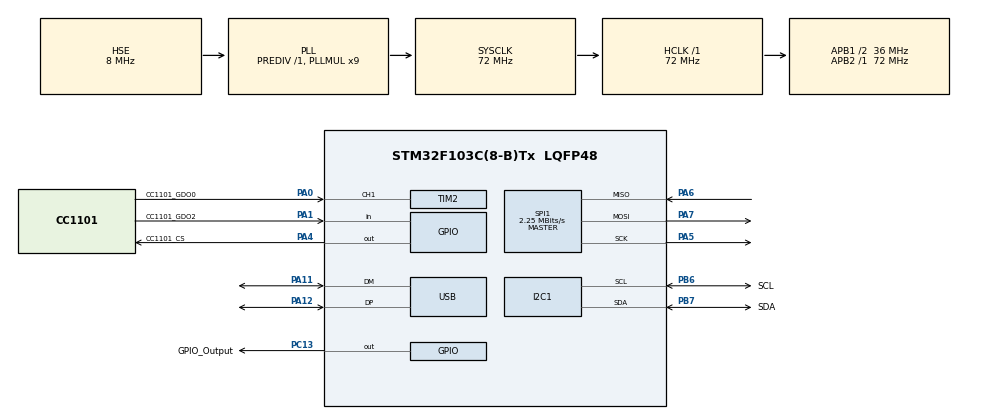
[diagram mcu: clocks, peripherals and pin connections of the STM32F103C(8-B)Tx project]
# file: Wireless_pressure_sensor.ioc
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Mcu.Family=STM32F1
Mcu.Name=STM32F103C(8-B)Tx
Mcu.Package=LQFP48
NVIC.PriorityGroup=NVIC_PRIORITYGROUP_4
NVIC.TIM2_IRQn=true\:0\:0\:false\:false\:true\:true\:true\:true
NVIC.TIM3_IRQn=true\:2\:0\:false\:false\:true\:true\:true\:true
NVIC.USB_LP_CAN1_RX0_IRQn=true\:1\:0\:false\:false\:true\:false\:true\:true
PA0-WKUP.GPIO_Label=CC1101_GDO0
PA0-WKUP.Signal=S_TIM2_CH1_ETR
PA1.GPIO_Label=CC1101_GDO2
PA1.Signal=GPIO_Input
PA11.Mode=Device
PA11.Signal=USB_DM
PA12.Mode=Device
PA12.Signal=USB_DP
PA13.Mode=Serial_Wire
PA13.Signal=SYS_JTMS-SWDIO
PA14.Mode=Serial_Wire
PA14.Signal=SYS_JTCK-SWCLK
PA4.GPIO_Label=CC1101_CS
PA4.PinState=GPIO_PIN_SET
PA4.Signal=GPIO_Output
PA5.Mode=Full_Duplex_Master
PA5.Signal=SPI1_SCK
PA6.Mode=Full_Duplex_Master
PA6.Signal=SPI1_MISO
PA7.Mode=Full_Duplex_Master
PA7.Signal=SPI1_MOSI
PB6.GPIO_Label=SCL
PB6.Mode=I2C
PB6.Signal=I2C1_SCL
PB7.GPIO_Label=SDA
PB7.Mode=I2C
PB7.Signal=I2C1_SDA
PC13-TAMPER-RTC.GPIO_Label=GPIO_Output
PC13-TAMPER-RTC.Signal=GPIO_Output
PD0-OSC_IN.Mode=HSE-External-Oscillator
PD0-OSC_IN.Signal=RCC_OSC_IN
PD1-OSC_OUT.Mode=HSE-External-Oscillator
PD1-OSC_OUT.Signal=RCC_OSC_OUT
ProjectManager.HeapSize=0x200
ProjectManager.StackSize=0x800
ProjectManager.TargetToolchain=CMake
RCC.AHBFreq_Value=72000000
RCC.APB1CLKDivider=RCC_HCLK_DIV2
RCC.APB1Freq_Value=36000000
RCC.APB1TimFreq_Value=72000000
RCC.APB2Freq_Value=72000000
RCC.APB2TimFreq_Value=72000000
RCC.HCLKFreq_Value=72000000
RCC.PLLMUL=RCC_PLL_MUL9
RCC.PLLSourceVirtual=RCC_PLLSOURCE_HSE
RCC.SYSCLKFreq_VALUE=72000000
RCC.SYSCLKSource=RCC_SYSCLKSOURCE_PLLCLK
RCC.USBFreq_Value=48000000
RCC.USBPrescaler=RCC_USBCLKSOURCE_PLL_DIV1_5
SH.S_TIM2_CH1_ETR.0=TIM2_CH1,Input_Capture1_from_TI1
SPI1.BaudRatePrescaler=SPI_BAUDRATEPRESCALER_32
SPI1.CalculateBaudRate=2.25 MBits/s
SPI1.Direction=SPI_DIRECTION_2LINES
SPI1.Mode=SPI_MODE_MASTER
SPI1.VirtualType=VM_MASTER
TIM2.Channel-Input_Capture1_from_TI1=TIM_CHANNEL_1
TIM2.Period=65535
TIM2.Prescaler=71
TIM3.Period=249
TIM3.Prescaler=71
USB_DEVICE.CLASS_NAME_FS=CDC
USB_DEVICE.VirtualMode-CDC_FS=Cdc
USB_DEVICE.VirtualModeFS=Cdc_FS
VP_TIM2_VS_ClockSourceINT.Mode=Internal
VP_TIM3_VS_ClockSourceINT.Mode=Internal
VP_USB_DEVICE_VS_USB_DEVICE_CDC_FS.Mode=CDC_FS
board=custom

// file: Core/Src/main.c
/* USER CODE BEGIN Header */
/**
  ******************************************************************************
  * @file           : main.c
  * @brief          : Main program body
  ******************************************************************************
  * @attention
  *
  * Copyright (c) 2026 STMicroelectronics.
  * All rights reserved.
  *
  * This software is licensed under terms that can be found in the LICENSE file
  * in the root directory of this software component.
  * If no LICENSE file comes with this software, it is provided AS-IS.
  *
  ******************************************************************************
  */
/* USER CODE END Header */
#include "main.h"
#include "usb_device.h"

/* USER CODE BEGIN Includes */
#include "cc1101.h"
#include "lcd_i2c.h"
#include "app.h"
#include <stdio.h>
/* USER CODE END Includes */

I2C_HandleTypeDef hi2c1;

SPI_HandleTypeDef hspi1;

TIM_HandleTypeDef htim2;
TIM_HandleTypeDef htim3;

void SystemClock_Config(void);
static void MX_GPIO_Init(void);
static void MX_I2C1_Init(void);
static void MX_SPI1_Init(void);
static void MX_TIM2_Init(void);
static void MX_TIM3_Init(void);

int main(void)
{

  /* MCU Configuration--------------------------------------------------------*/

  /* Reset of all peripherals, Initializes the Flash interface and the Systick. */
  HAL_Init();

  /* Configure the system clock */
  SystemClock_Config();

  /* USER CODE BEGIN SysInit */
  /*
   * Blue Pill USB re-enumeration trick: hold D+ (PA12) low for 10 ms so the PC
   * sees a "disconnect" after every reset/flash and enumerates the COM port again.
   */
  {
    GPIO_InitTypeDef g = {0};
    __HAL_RCC_GPIOA_CLK_ENABLE();
    g.Pin = GPIO_PIN_12;
    g.Mode = GPIO_MODE_OUTPUT_PP;
    g.Speed = GPIO_SPEED_FREQ_LOW;
    HAL_GPIO_Init(GPIOA, &g);
    HAL_GPIO_WritePin(GPIOA, GPIO_PIN_12, GPIO_PIN_RESET);
    HAL_Delay(10);
    HAL_GPIO_DeInit(GPIOA, GPIO_PIN_12);   /* release: the USB peripheral takes the pin */
  }
  /* USER CODE END SysInit */

  /* Initialize all configured peripherals */
  MX_GPIO_Init();
  MX_I2C1_Init();
  MX_SPI1_Init();
  MX_TIM2_Init();
  MX_TIM3_Init();
  MX_USB_DEVICE_Init();
  /* USER CODE BEGIN 2 */
  char line[21];   /* 20 chars + terminator */

  if (lcd_init(&hi2c1) != HAL_OK) {
      /* No LCD found at 0x27 or 0x3F: fast-blink the onboard LED (PC13) forever */
      while (1) {
          HAL_GPIO_TogglePin(GPIOC, GPIO_PIN_13);
          HAL_Delay(100);
      }
  }

  /* ---- Step 1 check (kept as a power-on self test) ---- */
  lcd_print_at(0, 0, "   TireSense TPMS");

  if (cc1101_init(&hspi1) != CC1101_OK) {
      lcd_print_at(0, 1, "Radio: NOT FOUND");
      lcd_print_at(0, 2, "Check 3V3,CS,MISO");
  } else {
      uint8_t part = 0xFF, ver = 0xFF;
      cc1101_read_status_reg(CC1101_PARTNUM, &part);
      cc1101_read_status_reg(CC1101_VERSION, &ver);

      snprintf(line, sizeof line, "Radio CC1101 v%02X", ver);
      lcd_print_at(0, 1, line);
      snprintf(line, sizeof line, "Self-test: %s", (part == 0x00 && (ver == 0x14 || ver == 0x04)) ? "OK" : "FAIL");
      lcd_print_at(0, 2, line);
      lcd_print_at(0, 3, "433.92 MHz receiver");
  }
  HAL_Delay(1500);   /* leave the self-test on screen briefly */

  /* ---- Step 2: radio in raw receive mode + burst capture ---- */
  app_init(&htim2, &htim3);
  /* USER CODE END 2 */

  /* Infinite loop */
  while (1)
  {

    /* USER CODE BEGIN 3 */
    app_loop();     /* never blocks: radio data is captured by interrupts */
  }
  /* USER CODE END 3 */
}

void SystemClock_Config(void)
{
  RCC_OscInitTypeDef RCC_OscInitStruct = {0};
  RCC_ClkInitTypeDef RCC_ClkInitStruct = {0};
  RCC_PeriphCLKInitTypeDef PeriphClkInit = {0};

  /** Initializes the RCC Oscillators according to the specified parameters
  * in the RCC_OscInitTypeDef structure.
  */
  RCC_OscInitStruct.OscillatorType = RCC_OSCILLATORTYPE_HSE;
  RCC_OscInitStruct.HSEState = RCC_HSE_ON;
  RCC_OscInitStruct.HSEPredivValue = RCC_HSE_PREDIV_DIV1;
  RCC_OscInitStruct.HSIState = RCC_HSI_ON;
  RCC_OscInitStruct.PLL.PLLState = RCC_PLL_ON;
  RCC_OscInitStruct.PLL.PLLSource = RCC_PLLSOURCE_HSE;
  RCC_OscInitStruct.PLL.PLLMUL = RCC_PLL_MUL9;
  if (HAL_RCC_OscConfig(&RCC_OscInitStruct) != HAL_OK)
  {
    Error_Handler();
  }

  /** Initializes the CPU, AHB and APB buses clocks
  */
  RCC_ClkInitStruct.ClockType = RCC_CLOCKTYPE_HCLK|RCC_CLOCKTYPE_SYSCLK
                              |RCC_CLOCKTYPE_PCLK1|RCC_CLOCKTYPE_PCLK2;
  RCC_ClkInitStruct.SYSCLKSource = RCC_SYSCLKSOURCE_PLLCLK;
  RCC_ClkInitStruct.AHBCLKDivider = RCC_SYSCLK_DIV1;
  RCC_ClkInitStruct.APB1CLKDivider = RCC_HCLK_DIV2;
  RCC_ClkInitStruct.APB2CLKDivider = RCC_HCLK_DIV1;

  if (HAL_RCC_ClockConfig(&RCC_ClkInitStruct, FLASH_LATENCY_2) != HAL_OK)
  {
    Error_Handler();
  }
  PeriphClkInit.PeriphClockSelection = RCC_PERIPHCLK_USB;
  PeriphClkInit.UsbClockSelection = RCC_USBCLKSOURCE_PLL_DIV1_5;   /* 72 MHz / 1.5 = 48 MHz for USB */
  if (HAL_RCCEx_PeriphCLKConfig(&PeriphClkInit) != HAL_OK)
  {
    Error_Handler();
  }
}

static void MX_I2C1_Init(void)
{

  hi2c1.Instance = I2C1;
  hi2c1.Init.ClockSpeed = 100000;
  hi2c1.Init.DutyCycle = I2C_DUTYCYCLE_2;
  hi2c1.Init.OwnAddress1 = 0;
  hi2c1.Init.AddressingMode = I2C_ADDRESSINGMODE_7BIT;
  hi2c1.Init.DualAddressMode = I2C_DUALADDRESS_DISABLE;
  hi2c1.Init.OwnAddress2 = 0;
  hi2c1.Init.GeneralCallMode = I2C_GENERALCALL_DISABLE;
  hi2c1.Init.NoStretchMode = I2C_NOSTRETCH_DISABLE;
  if (HAL_I2C_Init(&hi2c1) != HAL_OK)
  {
    Error_Handler();
  }

}

static void MX_SPI1_Init(void)
{

  /* SPI1 parameter configuration*/
  hspi1.Instance = SPI1;
  hspi1.Init.Mode = SPI_MODE_MASTER;
  hspi1.Init.Direction = SPI_DIRECTION_2LINES;
  hspi1.Init.DataSize = SPI_DATASIZE_8BIT;
  hspi1.Init.CLKPolarity = SPI_POLARITY_LOW;
  hspi1.Init.CLKPhase = SPI_PHASE_1EDGE;
  hspi1.Init.NSS = SPI_NSS_SOFT;
  hspi1.Init.BaudRatePrescaler = SPI_BAUDRATEPRESCALER_32;
  hspi1.Init.FirstBit = SPI_FIRSTBIT_MSB;
  hspi1.Init.TIMode = SPI_TIMODE_DISABLE;
  hspi1.Init.CRCCalculation = SPI_CRCCALCULATION_DISABLE;
  hspi1.Init.CRCPolynomial = 10;
  if (HAL_SPI_Init(&hspi1) != HAL_OK)
  {
    Error_Handler();
  }

}

static void MX_TIM2_Init(void)
{

  /* USER CODE BEGIN TIM2_Init 0 */
  /* TIM2: 1 MHz free-running counter. CH1 (PA0 = CC1101 GDO0) input capture
   * timestamps every edge of the demodulated radio data with 1 us resolution. */
  /* USER CODE END TIM2_Init 0 */

  TIM_ClockConfigTypeDef sClockSourceConfig = {0};
  TIM_MasterConfigTypeDef sMasterConfig = {0};
  TIM_IC_InitTypeDef sConfigIC = {0};

  htim2.Instance = TIM2;
  htim2.Init.Prescaler = 71;
  htim2.Init.CounterMode = TIM_COUNTERMODE_UP;
  htim2.Init.Period = 65535;
  htim2.Init.ClockDivision = TIM_CLOCKDIVISION_DIV1;
  htim2.Init.AutoReloadPreload = TIM_AUTORELOAD_PRELOAD_DISABLE;
  if (HAL_TIM_Base_Init(&htim2) != HAL_OK)
  {
    Error_Handler();
  }
  sClockSourceConfig.ClockSource = TIM_CLOCKSOURCE_INTERNAL;
  if (HAL_TIM_ConfigClockSource(&htim2, &sClockSourceConfig) != HAL_OK)
  {
    Error_Handler();
  }
  if (HAL_TIM_IC_Init(&htim2) != HAL_OK)
  {
    Error_Handler();
  }
  sMasterConfig.MasterOutputTrigger = TIM_TRGO_RESET;
  sMasterConfig.MasterSlaveMode = TIM_MASTERSLAVEMODE_DISABLE;
  if (HAL_TIMEx_MasterConfigSynchronization(&htim2, &sMasterConfig) != HAL_OK)
  {
    Error_Handler();
  }
  sConfigIC.ICPolarity = TIM_INPUTCHANNELPOLARITY_RISING;
  sConfigIC.ICSelection = TIM_ICSELECTION_DIRECTTI;
  sConfigIC.ICPrescaler = TIM_ICPSC_DIV1;
  sConfigIC.ICFilter = 0;
  if (HAL_TIM_IC_ConfigChannel(&htim2, &sConfigIC, TIM_CHANNEL_1) != HAL_OK)
  {
    Error_Handler();
  }

}

static void MX_TIM3_Init(void)
{

  /* USER CODE BEGIN TIM3_Init 0 */
  /* TIM3: interrupt every 250 us (1 MHz / 250) to sample the CC1101 RSSI */
  /* USER CODE END TIM3_Init 0 */

  TIM_ClockConfigTypeDef sClockSourceConfig = {0};
  TIM_MasterConfigTypeDef sMasterConfig = {0};

  htim3.Instance = TIM3;
  htim3.Init.Prescaler = 71;
  htim3.Init.CounterMode = TIM_COUNTERMODE_UP;
  htim3.Init.Period = 249;
  htim3.Init.ClockDivision = TIM_CLOCKDIVISION_DIV1;
  htim3.Init.AutoReloadPreload = TIM_AUTORELOAD_PRELOAD_DISABLE;
  if (HAL_TIM_Base_Init(&htim3) != HAL_OK)
  {
    Error_Handler();
  }
  sClockSourceConfig.ClockSource = TIM_CLOCKSOURCE_INTERNAL;
  if (HAL_TIM_ConfigClockSource(&htim3, &sClockSourceConfig) != HAL_OK)
  {
    Error_Handler();
  }
  sMasterConfig.MasterOutputTrigger = TIM_TRGO_RESET;
  sMasterConfig.MasterSlaveMode = TIM_MASTERSLAVEMODE_DISABLE;
  if (HAL_TIMEx_MasterConfigSynchronization(&htim3, &sMasterConfig) != HAL_OK)
  {
    Error_Handler();
  }

}

static void MX_GPIO_Init(void)
{
  GPIO_InitTypeDef GPIO_InitStruct = {0};

  /* GPIO Ports Clock Enable */
  __HAL_RCC_GPIOC_CLK_ENABLE();
  __HAL_RCC_GPIOD_CLK_ENABLE();
  __HAL_RCC_GPIOA_CLK_ENABLE();
  __HAL_RCC_GPIOB_CLK_ENABLE();

  /*Configure GPIO pin Output Level */
  HAL_GPIO_WritePin(GPIO_Output_GPIO_Port, GPIO_Output_Pin, GPIO_PIN_RESET);

  /*Configure GPIO pin Output Level */
  HAL_GPIO_WritePin(CC1101_CS_GPIO_Port, CC1101_CS_Pin, GPIO_PIN_SET);

  /*Configure GPIO pin : GPIO_Output_Pin */
  GPIO_InitStruct.Pin = GPIO_Output_Pin;
  GPIO_InitStruct.Mode = GPIO_MODE_OUTPUT_PP;
  GPIO_InitStruct.Pull = GPIO_NOPULL;
  GPIO_InitStruct.Speed = GPIO_SPEED_FREQ_LOW;
  HAL_GPIO_Init(GPIO_Output_GPIO_Port, &GPIO_InitStruct);

  /*Configure GPIO pin : CC1101_CS_Pin */
  GPIO_InitStruct.Pin = CC1101_CS_Pin;
  GPIO_InitStruct.Mode = GPIO_MODE_OUTPUT_PP;
  GPIO_InitStruct.Pull = GPIO_NOPULL;
  GPIO_InitStruct.Speed = GPIO_SPEED_FREQ_LOW;
  HAL_GPIO_Init(CC1101_CS_GPIO_Port, &GPIO_InitStruct);

  /*Configure GPIO pin : CC1101_GDO2_Pin */
  GPIO_InitStruct.Pin = CC1101_GDO2_Pin;
  GPIO_InitStruct.Mode = GPIO_MODE_INPUT;
  GPIO_InitStruct.Pull = GPIO_NOPULL;
  HAL_GPIO_Init(CC1101_GDO2_GPIO_Port, &GPIO_InitStruct);

}

void Error_Handler(void)
{
  __disable_irq();
  while (1)
  {
  }
}
